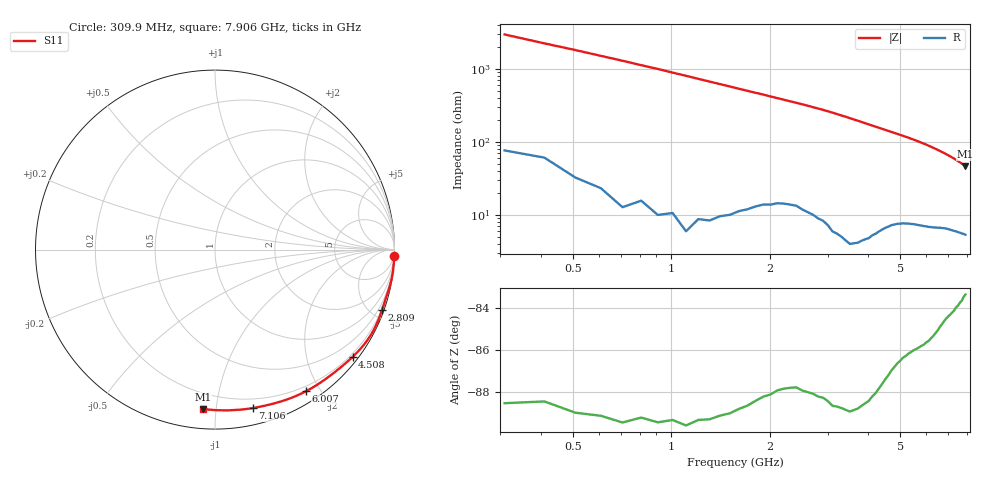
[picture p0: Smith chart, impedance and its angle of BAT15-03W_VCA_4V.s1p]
! Infineon Technologies  Discrete & RF Semiconductors
! BAT15-03W-E6327
! VCA = 4 V
! One-Port S-Parameters
# Hz  S  MA  R  50
!f  S11
!Hz  Mag  Ang
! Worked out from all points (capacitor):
!   77 points, 309.9 MHz to 7.906 GHz, reference 50 ohm
!   read as one part to ground: C = 175 fF near 309.9 MHz
!   lowest |Z| = 46.4 ohm at 7.906 GHz (marker M1)
!   S11 on the Smith chart (normalised r, x): 309.9 MHz: 2, -59; 2.809 GHz: 0.18, -5.70; 4.508 GHz: 0.13, -2.91; 6.007 GHz: 0.14, -1.82; 7.106 GHz: 0.13, -1.26; 7.906 GHz: 0.11, -0.92
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3.0985e8  0.9991 -1.9
9.0955e8  0.999 -5.8
1.30935e9  0.9981 -8.6
1.70915e9  0.9953 -11.4
2.2089e9  0.9901 -15.1
2.50875e9  0.9891 -17.4
2.8086e9  0.9894 -19.9
2.90855e9  0.9893 -20.7
3.2084e9  0.9908 -23.6
3.50825e9  0.9915 -26.7
3.70815e9  0.9897 -28.8
4.10795e9  0.9828 -33.3
4.50775e9  0.9721 -37.9
4.70765e9  0.9662 -40.2
5.10745e9  0.9558 -45.0
5.4073e9  0.9498 -48.8
5.6072e9  0.946 -51.4
5.8071e9  0.942 -54.3
6.007e9  0.9377 -57.3
6.2069e9  0.9329 -60.4
6.4068e9  0.9274 -63.8
6.70665e9  0.9181 -69.0
7.0065e9  0.9098 -74.6
7.10645e9  0.9077 -76.5
7.30635e9  0.9034 -80.7
7.50625e9  0.899 -85.0
7.70615e9  0.8949 -89.5
7.90605e9  0.8906 -94.3
